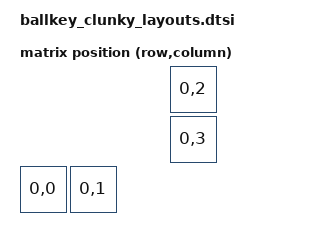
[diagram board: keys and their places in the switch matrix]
/* 第四个文件：定义物理布局, 以支持 zmk studio 动态改键 */

#include <dt-bindings/zmk/matrix_transform.h>
#include <physical_layouts.dtsi>

/ {

    default_transform: keymap_transform_0 { /* 将 scan 和到的 matrix 转换成 keymap。比如扫描矩阵可能是 6x6，但键盘的布局可能是 3x12, 此时需要映射 */
        compatible = "zmk,matrix-transform";
        columns = <4>;
        rows = <1>;
        map = <
            RC(0,0)  RC(0,1)  RC(0,2)  RC(0,3)
        >;
    };

    ballkey_clunky_physical_layout: ballkey_clunky_physical_layout {
        compatible = "zmk,physical-layout";
        display-name = "Ballkey Clunky";
        transform = <&default_transform>;
        kscan = <&kscan0>;
        keys  //                     w   h    x    y     rot    rx    ry
            = <&key_physical_attrs 100 100    0  200       0     0     0>
            , <&key_physical_attrs 100 100  100  200       0     0     0>
            , <&key_physical_attrs 100 100  300    0       0     0     0>
            , <&key_physical_attrs 100 100  300  100       0     0     0>
            ;
    };
};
